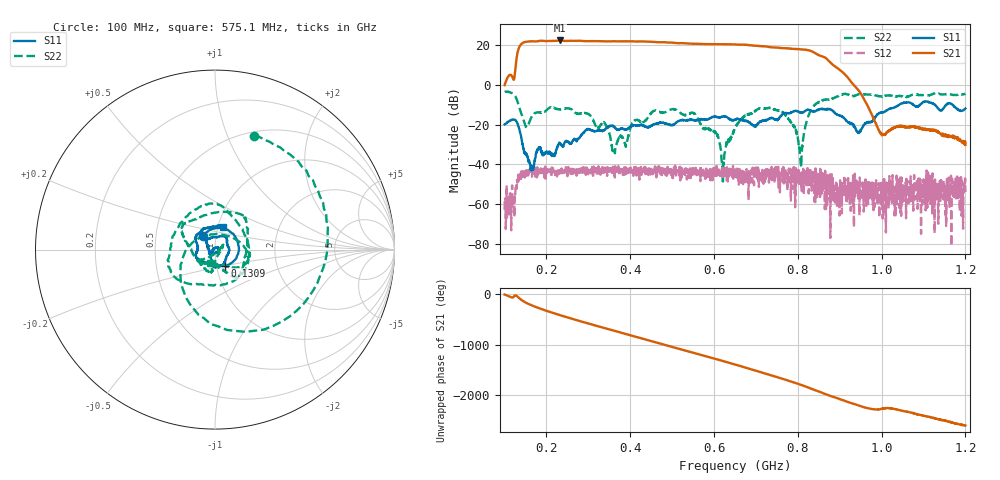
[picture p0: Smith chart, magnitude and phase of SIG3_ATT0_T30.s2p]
# Hz S DB R 50
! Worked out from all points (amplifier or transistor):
!   1601 points, 100 MHz to 1.2 GHz, reference 50 ohm
!   highest |S21| = 22.4 dB at 232 MHz (marker M1)
!   |S21| within 3 dB of that: 135.8 MHz to 722.6 MHz (586.8 MHz wide, 137 % of centre)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
!   unconditionally stable (mu >= 1): start of sweep to end of sweep
!   at 282.9 MHz: K = 4.77, MAG = 22.3 dB, |S12| = -42.0 dB
!   at 650 MHz: K = 9.74, MAG = 20.5 dB, |S12| = -46.4 dB
!   at 1.2 GHz: K = 4899.38, MAG = -28.0 dB, |S12| = -54.0 dB
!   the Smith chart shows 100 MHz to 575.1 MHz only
!   S11 on the Smith chart (normalised r, x): 100 MHz: 0.86, +0.13; 130.9 MHz: 1.09, -0.20; 575.1 MHz: 1.05, +0.27
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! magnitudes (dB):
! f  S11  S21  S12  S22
! 100 MHz  -19.9  -0.1  -62.9  -3.5
! 121.3 MHz  -17.5  2.6  -57.0  -4.7
! 130.9 MHz  -19.5  16.3  -47.9  -8.5
! 150.9 MHz  -35.3  21.7  -45.7  -21.2
! 164.6 MHz  -43.2  22.0  -42.6  -16.1
! 180.4 MHz  -32.1  22.1  -42.5  -13.8
! 232 MHz  -29.4  22.4  -44.6  -12.4
! 283.6 MHz  -25.4  22.1  -44.8  -14.4
! 339.9 MHz  -22.5  21.9  -44.2  -19.5
! 361.2 MHz  -21.1  22.0  -41.3  -34.1
! 467.1 MHz  -19.4  21.5  -43.7  -13.3
! 575.1 MHz  -17.5  20.6  -44.9  -21.9
! 606 MHz  -16.2  20.5  -40.8  -24.6
! 621.1 MHz  -16.0  20.5  -47.1  -50.0
! 650 MHz  -17.4  20.4  -46.4  -21.7
! 757.9 MHz  -16.2  18.6  -44.4  -13.2
! 806.8 MHz  -14.0  17.9  -49.2  -39.6
! 833.6 MHz  -13.1  16.9  -46.0  -11.9
! 944.2 MHz  -24.3  -2.6  -57.3  -4.8
! 996.5 MHz  -14.1  -24.2  -48.7  -5.8
! 1.017 GHz  -12.2  -23.2  -50.1  -5.3
! 1.2 GHz  -11.9  -30.2  -54.0  -4.5
